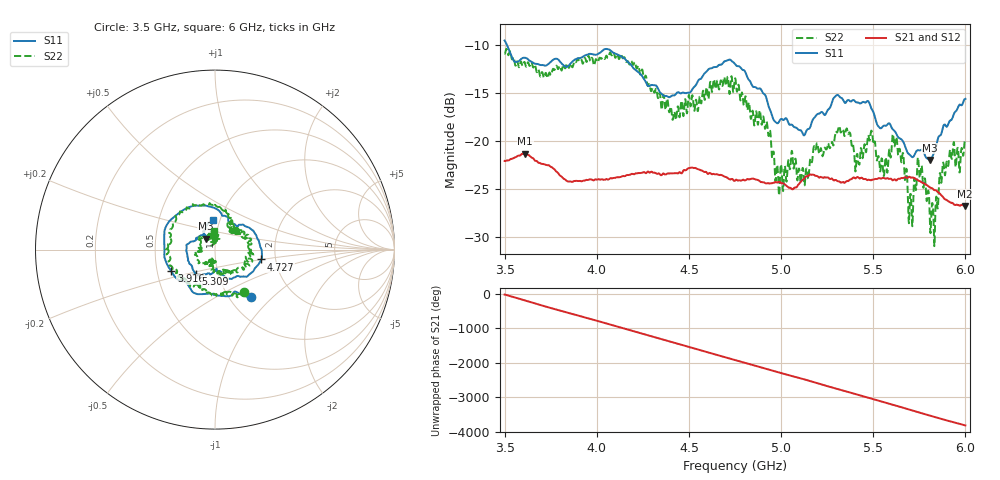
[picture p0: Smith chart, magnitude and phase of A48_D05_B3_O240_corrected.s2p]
! Created with skrf 1.9.0 (http://scikit-rf.org).
# Hz S RI R 50.0
!freq ReS11 ImS11 ReS21 ImS21 ReS12 ImS12 ReS22 ImS22
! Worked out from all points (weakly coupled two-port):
!   1601 points, 3.5 GHz to 6 GHz, reference 50 ohm
!   highest |S21| = -21.35 dB at 3.611 GHz (marker M1); lowest = -26.8 dB at 5.995 GHz (marker M2)
!   lowest |S11| = -22.0 dB at 5.808 GHz (marker M3), VSWR 1.17, Z = 44.9 + j5.57 ohm
!   |S11| at or under -10 dB: 3.513 GHz to end of sweep
!   |S22| runs from -31.0 to -10.4 dB; largest |S21 - S12| = 0.0011
!   S11 on the Smith chart (normalised r, x): 3.5 GHz: 1.26, -0.75; 3.916 GHz: 0.59, -0.15; 4.727 GHz: 1.68, -0.20; 5.309 GHz: 0.78, -0.22; 6 GHz: 0.93, +0.31
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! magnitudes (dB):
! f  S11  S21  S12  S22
! 3.5 GHz  -9.5  -22.1  -22.1  -10.9
! 3.611 GHz  -11.3  -21.3  -21.3  -11.9
! 3.916 GHz  -11.3  -24.2  -24.2  -11.5
! 3.917 GHz  -11.3  -24.2  -24.2  -11.5
! 4.141 GHz  -11.3  -23.7  -23.6  -11.4
! 4.334 GHz  -14.6  -23.4  -23.3  -15.5
! 4.42 GHz  -15.3  -23.4  -23.4  -16.9
! 4.727 GHz  -11.6  -24.0  -23.9  -13.9
! 4.75 GHz  -12.0  -24.2  -24.1  -13.5
! 4.93 GHz  -16.2  -24.4  -24.4  -19.2
! 4.98 GHz  -18.2  -24.4  -24.3  -22.6
! 5.167 GHz  -18.0  -23.5  -23.5  -22.2
! 5.309 GHz  -15.2  -24.2  -24.1  -18.8
! 5.412 GHz  -16.0  -23.8  -23.7  -21.4
! 5.483 GHz  -16.3  -24.1  -24.0  -19.8
! 5.584 GHz  -18.2  -24.0  -23.9  -21.3
! 5.634 GHz  -19.6  -24.0  -23.9  -21.5
! 5.703 GHz  -21.6  -23.8  -23.8  -25.5
! 5.753 GHz  -21.0  -24.2  -24.1  -23.9
! 5.808 GHz  -22.0  -24.9  -24.8  -28.6
! 5.995 GHz  -15.7  -26.8  -26.7  -20.1
! 6 GHz  -15.6  -26.8  -26.7  -19.9
